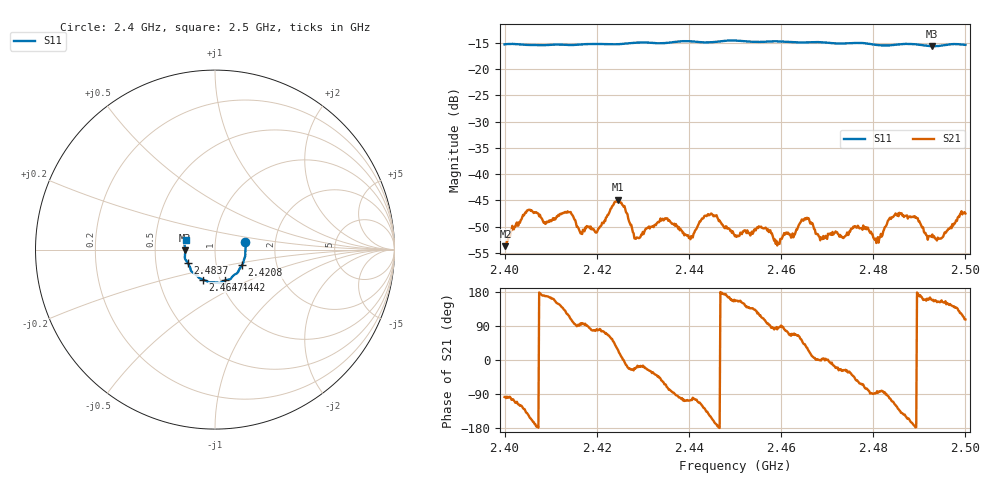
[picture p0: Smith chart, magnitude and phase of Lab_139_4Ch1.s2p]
# Hz S RI R 50
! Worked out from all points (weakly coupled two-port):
!   601 points, 2.4 GHz to 2.5 GHz, reference 50 ohm
!   highest |S21| = -44.90 dB at 2.4247 GHz (marker M1); lowest = -53.7 dB at 2.4002 GHz (marker M2)
!   lowest |S11| = -15.6 dB at 2.4928 GHz (marker M3), VSWR 1.40, Z = 35.8 - j0.367 ohm
!   |S11| at or under -10 dB: start of sweep to end of sweep
!   S12 and S22 are empty: the file has one direction only
!   S11 on the Smith chart (normalised r, x): 2.4 GHz: 1.40, +0.12; 2.4208 GHz: 1.33, -0.24; 2.4442 GHz: 1.05, -0.37; 2.4647 GHz: 0.83, -0.29; 2.4837 GHz: 0.73, -0.11; 2.5 GHz: 0.72, +0.08
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2.4e9  0.1679 0.0411  -0.000279 -0.00208  0 0  0 0
2.400167e9  0.1685 0.0405  -0.000297 -0.00203  0 0  0 0
2.405333e9  0.1704 0.00601  -0.00392 -0.00233  0 0  0 0
2.414167e9  0.1624 -0.0514  -0.00159 0.00403  0 0  0 0
2.416667e9  0.1589 -0.068  -0.000174 0.00275  0 0  0 0
2.420833e9  0.1506 -0.0871  0.000552 0.00314  0 0  0 0
2.424667e9  0.1372 -0.106  0.00515 0.00241  0 0  0 0
2.428667e9  0.1278 -0.1261  0.00234 -0.00084  0 0  0 0
2.433333e9  0.108 -0.14  0.00259 -0.00236  0 0  0 0
2.440333e9  0.0808 -0.1662  -0.000664 -0.0023  0 0  0 0
2.444167e9  0.0568 -0.1711  -0.00323 -0.00261  0 0  0 0
2.45e9  0.0248 -0.1864  -0.00232 0.00107  0 0  0 0
2.455667e9  -0.0119 -0.182  -0.00125 0.0029  0 0  0 0
2.459333e9  -0.0323 -0.1818  0.000176 0.00221  0 0  0 0
2.464667e9  -0.0672 -0.167  0.00251 0.00269  0 0  0 0
2.466667e9  -0.08 -0.1626  0.00331 0.000637  0 0  0 0
2.480667e9  -0.1388 -0.0993  0.00014 -0.0022  0 0  0 0
2.483333e9  -0.1504 -0.0763  -0.000406 -0.00362  0 0  0 0
2.483667e9  -0.1523 -0.0734  -0.000791 -0.00376  0 0  0 0
2.489167e9  -0.1679 -0.0422  -0.00383 -0.000142  0 0  0 0
2.492833e9  -0.1657 -0.00498  -0.00246 0.00101  0 0  0 0
2.5e9  -0.1626 0.0527  -0.00122 0.00403  0 0  0 0
